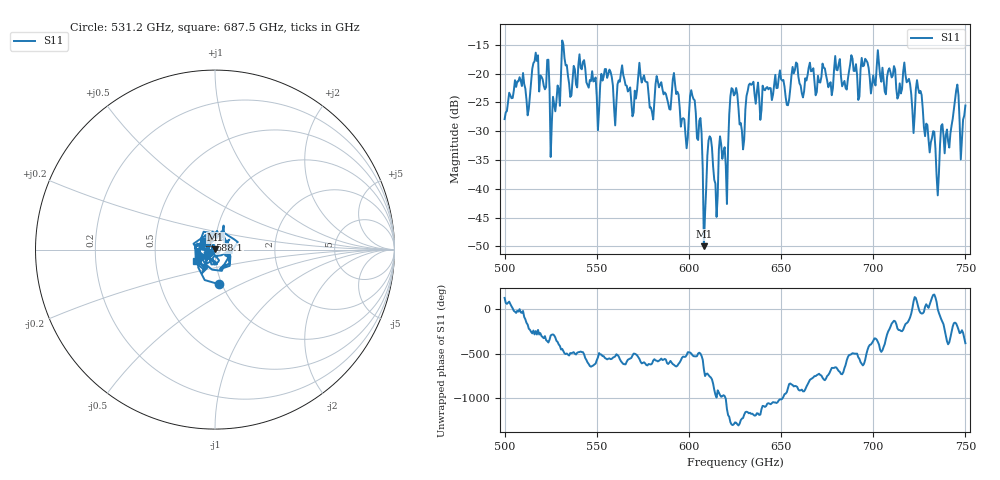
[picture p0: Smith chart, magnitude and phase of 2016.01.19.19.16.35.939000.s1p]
!Created with skrf (http://scikit-rf.org).
# GHz S RI R 50.0
!freq ReS11 ImS11
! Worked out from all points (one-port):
!   401 points, 500 GHz to 750 GHz, reference 50 ohm
!   lowest |S11| = -50.0 dB at 608.1 GHz (marker M1), VSWR 1.01, Z = 50.2 + j0.227 ohm
!   |S11| at or under -10 dB: start of sweep to end of sweep
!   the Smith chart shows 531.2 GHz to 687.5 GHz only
!   S11 on the Smith chart (normalised r, x): 531.2 GHz: 0.97, -0.39; 588.1 GHz: 0.94, +0.10; 687.5 GHz: 0.81, -0.10
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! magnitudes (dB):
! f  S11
! 500 GHz  -27.9
! 506.9 GHz  -21.4
! 513.1 GHz  -26.1
! 516.9 GHz  -16.4
! 526.2 GHz  -24.0
! 531.2 GHz  -14.2
! 550.6 GHz  -29.8
! 562.5 GHz  -21.4
! 588.1 GHz  -24.3
! 593.8 GHz  -23.2
! 598.1 GHz  -30.6
! 602.5 GHz  -24.4
! 608.1 GHz  -50.0
! 611.2 GHz  -30.9
! 614.4 GHz  -39.1
! 617.5 GHz  -32.3
! 620 GHz  -36.0
! 625 GHz  -23.5
! 628.8 GHz  -29.9
! 633.8 GHz  -22.0
! 656.2 GHz  -18.8
! 687.5 GHz  -18.4
! 718.8 GHz  -21.2
! 725 GHz  -23.4
! 735 GHz  -41.1
! 745 GHz  -22.9
! 748.1 GHz  -31.6
! 750 GHz  -25.5
